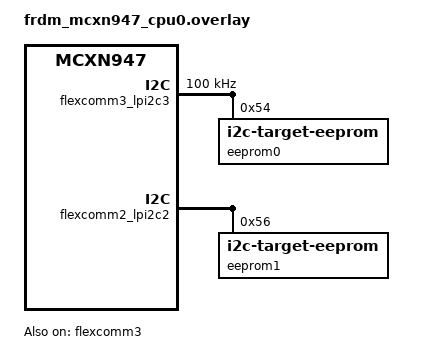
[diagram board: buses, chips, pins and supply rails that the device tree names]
/*
 * Copyright 2023 NXP
 *
 * SPDX-License-Identifier: Apache-2.0
 */

&pinctrl {
	pinmux_flexcomm3_lpi2c: pinmux_flexcomm3_lpi2c {
		group0 {
			pinmux = <FC3_P1_PIO1_1>,
				<FC3_P0_PIO1_0 >;
			slew-rate = "fast";
			drive-strength = "low";
			input-enable;
			bias-pull-up;
			drive-open-drain;
		};
	};
};

&flexcomm3 {
	status = "okay";
};

/* To test this sample, connect
 * LPI2C3 SCL(J5-5, P1_1/FC3_P1)     -->        LPI2C2 SCL(J2-20, P4_1/FC2_P1)
 * LPI2C3 SDA(J5-6, P1_0/FC3_P0)     -->        LPI2C2 SDA(J2-18, P4_0/FC2_P0)
 */
&flexcomm3_lpi2c3 {
	pinctrl-0 = <&pinmux_flexcomm3_lpi2c>;
	pinctrl-names = "default";
	clock-frequency = <I2C_BITRATE_STANDARD>;
	status = "okay";
	eeprom0: eeprom@54 {
		compatible = "zephyr,i2c-target-eeprom";
		reg = <0x54>;
		size = <1024>;
	};
};

&flexcomm2_lpi2c2 {
	status = "okay";
	eeprom1: eeprom@56 {
		compatible = "zephyr,i2c-target-eeprom";
		reg = <0x56>;
		size = <1024>;
	};
};
